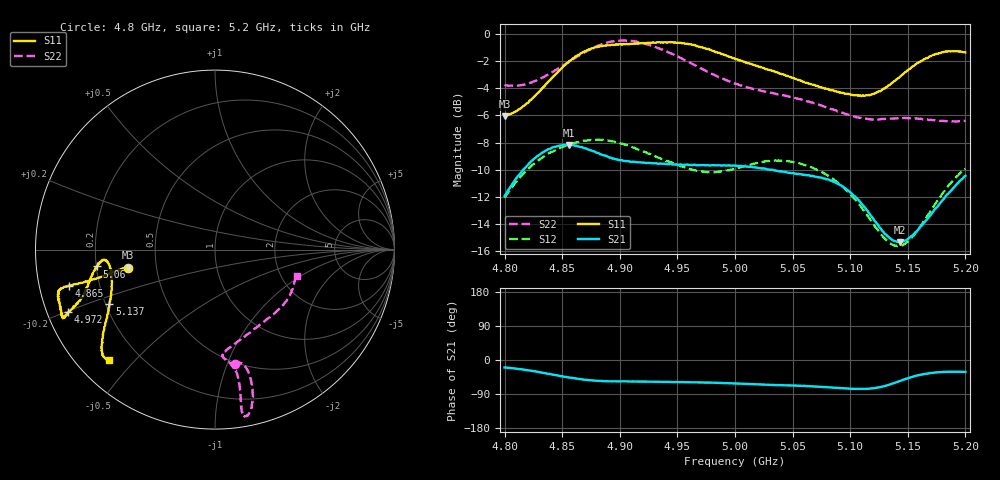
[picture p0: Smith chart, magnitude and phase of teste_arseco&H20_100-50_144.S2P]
! Network Analyzer HP8722D
! Hewlett-Packard
! Data name: Linha & Wilkinson
! Saver's name: Rodrigo Anjos
! Comments: Teste da utilização de aquisição
! continua pelo VNA HP8722D
! Time and date: 6/5/2025 13:46
!  Frequency  S11  S21  S12  S22
# HZ  S  MA R 50
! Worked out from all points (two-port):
!   401 points, 4.8 GHz to 5.2 GHz, reference 50 ohm
!   highest |S21| = -8.17 dB at 4.856 GHz (marker M1); lowest = -15.3 dB at 5.143 GHz (marker M2)
!   |S21| within 3 dB of the highest: 4.806 GHz to 5.092 GHz (286.7 MHz wide, 5.79 % of centre); 5.191275 GHz to end of sweep
!   lowest |S11| = -6.1 dB at 4.8 GHz (marker M3), VSWR 2.98, Z = 16.9 - j4.55 ohm
!   |S11| at or under -10 dB: nowhere
!   |S22| runs from -6.5 to -0.5 dB; largest |S21 - S12| = 0.62
!   S11 on the Smith chart (normalised r, x): 4.8 GHz: 0.34, -0.09; 4.865 GHz: 0.09, -0.12; 4.972 GHz: 0.06, -0.20; 5.06 GHz: 0.20, -0.07; 5.137 GHz: 0.21, -0.23; 5.2 GHz: 0.09, -0.42
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4.8e9  0.4974 -168.3  0.2533 -19.8  0.2494 -141.1  0.6486 -80.3
4.826e9  0.5892 -167.4  0.3484 -29.8  0.3335 -144.8  0.6684 -75.7
4.856e9  0.7911 -166.0  0.3903 -46.0  0.3913 -150.4  0.789 -74.9
4.865e9  0.8396 -166.2  0.384 -50.3  0.4006 -152.0  0.8337 -75.4
4.867e9  0.8505 -166.0  0.3836 -51.1  0.4025 -152.2  0.843 -75.5
4.899e9  0.9123 -163.0  0.3432 -56.5  0.3975 -156.9  0.9422 -79.2
4.913e9  0.9188 -159.9  0.3381 -56.7  0.3806 -157.1  0.9367 -80.3
4.934e9  0.9299 -156.7  0.3329 -57.5  0.3501 -155.8  0.8823 -80.6
4.972e9  0.8886 -156.8  0.3291 -59.2  0.3114 -146.3  0.74 -79.8
5e9  0.8075 -159.3  0.3277 -61.9  0.3194 -137.4  0.6557 -81.3
5.035e9  0.7234 -165.4  0.3146 -66.0  0.3423 -134.5  0.6021 -85.7
5.06e9  0.6643 -171.9  0.3032 -68.4  0.3293 -136.3  0.5698 -84.3
5.067e9  0.6501 -173.1  0.3003 -69.4  0.3226 -136.9  0.5587 -82.6
5.082e9  0.6207 -174.8  0.2902 -72.1  0.2985 -138.4  0.5319 -77.1
5.101e9  0.596 -172.0  0.2595 -76.1  0.2546 -138.9  0.5004 -66.5
5.116e9  0.595 -165.7  0.2206 -75.9  0.2117 -135.5  0.4854 -55.6
5.134e9  0.6472 -154.5  0.1779 -65.0  0.1705 -120.5  0.487 -43.2
5.137e9  0.662 -152.6  0.1741 -62.1  0.1677 -116.7  0.4871 -41.4
5.143e9  0.6933 -149.3  0.1716 -55.6  0.1659 -108.8  0.4883 -37.9
5.154e9  0.7572 -144.6  0.1814 -44.3  0.1796 -94.9  0.4885 -32.3
5.173e9  0.8368 -139.1  0.2248 -33.3  0.2336 -80.9  0.4812 -24.3
5.2e9  0.8542 -133.9  0.3006 -31.5  0.3195 -77.0  0.4788 -17.7
